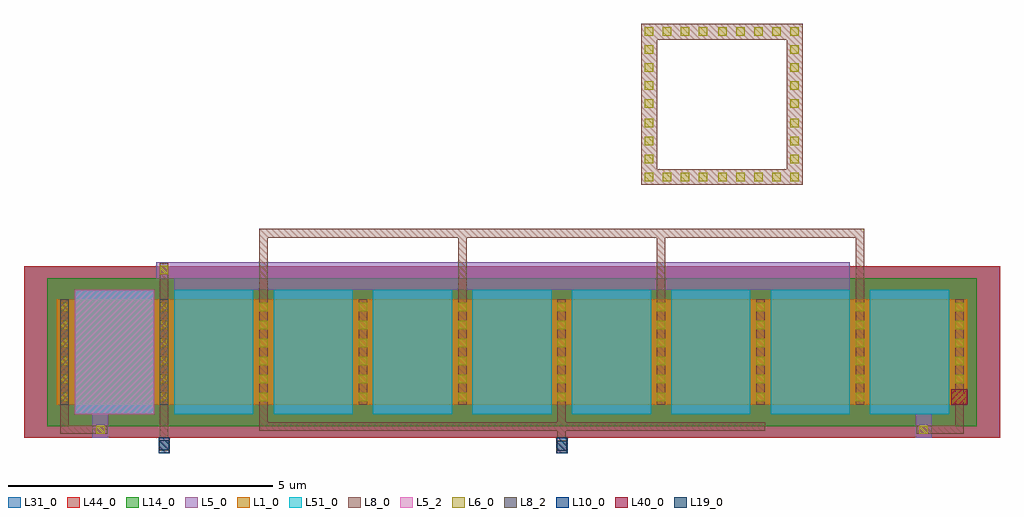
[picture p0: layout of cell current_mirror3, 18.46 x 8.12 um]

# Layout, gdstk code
from math import pi, radians
import gdstk
lib = gdstk.Library(unit=1e-6, precision=5e-09)
def R(c, l, rs):  # rectangles x0, y0, x1, y1
    for r in rs: c.add(gdstk.rectangle(r[:2], r[2:], *l))
def A(c, l, x, y, w, h, nx, ny, dx, dy):  # array of equal rectangles
    R(c, l, [(x+i*dx, y+j*dy, x+i*dx+w, y+j*dy+h) for i in range(nx) for j in range(ny)])
L1_0 = (1, 0)
L5_0 = (5, 0)
L5_2 = (5, 2)
L6_0 = (6, 0)
L8_0 = (8, 0)
L8_2 = (8, 2)
L10_0 = (10, 0)
L14_0 = (14, 0)
L19_0 = (19, 0)
L31_0 = (31, 0)
L40_0 = (40, 0)
L44_0 = (44, 0)
L51_0 = (51, 0)

pmoshv_4 = lib.new_cell('pmosHV$4')
A(pmoshv_4, L1_0, 0, 0, 0.3, 0.3, 10, 1, 1.88, 0)
R(pmoshv_4, L1_0, [(0,0,17.22,2)])
A(pmoshv_4, L5_0, 0.34, -0.18, 1.5, 2.36, 9, 1, 1.88, 0)
R(pmoshv_4, L5_2, [(0.34,-0.18,1.84,2.18)])
A(pmoshv_4, L6_0, 0.07, 0.07, 0.16, 0.16, 10, 6, 1.88, 0.34)
A(pmoshv_4, L8_0, 0.07, 0, 0.16, 2, 10, 1, 1.88, 0)
R(pmoshv_4, L8_2, [(0.07,0,0.23,2), (1.95,0,2.11,2)])
R(pmoshv_4, L14_0, [(-0.18,-0.4,17.4,2.4)])
R(pmoshv_4, L31_0, [(-0.62,-0.62,17.84,2.62)])
R(pmoshv_4, L40_0, [(16.92,0,17.22,0.3)])
R(pmoshv_4, L44_0, [(-0.62,-0.62,17.84,2.62)])
A(pmoshv_4, L51_0, 0.34, -0.18, 1.5, 2.36, 9, 1, 1.88, 0)
pmoshv_4.add(gdstk.Label('pmosHV', (1.09,1), layer=63, texttype=0))
pmoshv_4.add(gdstk.Label('pmos', (1.09,1), layer=51, texttype=0))
pmoshv_4.add(gdstk.Label('pmos', (2.97,1), layer=51, texttype=0))
pmoshv_4.add(gdstk.Label('pmos', (4.85,1), layer=51, texttype=0))
pmoshv_4.add(gdstk.Label('pmos', (6.73,1), layer=51, texttype=0))
pmoshv_4.add(gdstk.Label('pmos', (8.61,1), layer=51, texttype=0))
pmoshv_4.add(gdstk.Label('pmos', (10.49,1), layer=51, texttype=0))
pmoshv_4.add(gdstk.Label('pmos', (12.37,1), layer=51, texttype=0))
pmoshv_4.add(gdstk.Label('pmos', (14.25,1), layer=51, texttype=0))
pmoshv_4.add(gdstk.Label('pmos', (16.13,1), layer=51, texttype=0))

guard_ring_9 = lib.new_cell('guard_ring$9')
A(guard_ring_9, L6_0, -1.455, -1.455, 0.16, 0.16, 4, 2, 0.34, 2.75)
A(guard_ring_9, L6_0, -0.065, -1.455, 0.16, 0.16, 5, 2, 0.34, 2.75)
A(guard_ring_9, L6_0, -1.455, -1.115, 0.16, 0.16, 1, 3, 0, 0.34)
A(guard_ring_9, L6_0, 1.295, -1.115, 0.16, 0.16, 1, 3, 0, 0.34)
A(guard_ring_9, L6_0, -1.455, -0.065, 0.16, 0.16, 1, 4, 0, 0.34)
A(guard_ring_9, L6_0, 1.295, -0.065, 0.16, 0.16, 1, 4, 0, 0.34)
R(guard_ring_9, L8_0, [(-1.525,-1.525,1.525,-1.225), (-1.525,-1.225,-1.225,1.225), (1.225,-1.225,1.525,1.225), (-1.525,1.225,1.525,1.525)])

via_stack = lib.new_cell('via_stack')
R(via_stack, L8_0, [(-0.145,-0.105,0.145,0.105)])
R(via_stack, L10_0, [(-0.145,-0.1,0.145,0.1)])
R(via_stack, L19_0, [(-0.095,-0.095,0.095,0.095)])

via_stack_5 = lib.new_cell('via_stack$5')
R(via_stack_5, L5_0, [(-0.15,-0.15,0.15,0.15)])
R(via_stack_5, L6_0, [(-0.08,-0.08,0.08,0.08)])
R(via_stack_5, L8_0, [(-0.13,-0.08,0.13,0.08)])

current_mirror3 = lib.new_cell('current_mirror3')
R(current_mirror3, L5_0, [(0.275,0.595,0.575,1.215), (0.275,0.595,0.575,1.215), (15.845,0.595,16.145,1.215), (15.845,0.595,16.145,1.215), (1.82,3.395,14.6,3.915), (1.48,3.615,2.02,3.915)])
R(current_mirror3, L8_0, [(9.05,0.3,9.26,0.59), (1.525,0.305,1.735,0.595), (1.55,0.305,1.71,1.445), (9.07,0.305,9.23,1.445), (-0.33,0.665,0.555,0.825), (-0.33,0.665,0.555,0.825), (-0.33,0.665,-0.17,1.445), (-0.33,0.665,-0.17,1.445), (15.865,0.665,16.75,0.825), (15.865,0.665,16.75,0.825), (16.59,0.665,16.75,1.445), (16.59,0.665,16.75,1.445), (3.43,0.725,13,0.885), (3.43,0.725,3.59,1.445), (10.95,2.98,11.11,4.545), (1.55,2.985,1.71,3.895), (3.43,2.985,3.59,4.545), (7.19,2.985,7.35,4.545), (14.71,2.985,14.87,4.545), (3.43,4.375,14.87,4.545)])
current_mirror3.add(gdstk.Reference(pmoshv_4, (-0.4,1.215)))
current_mirror3.add(gdstk.Reference(guard_ring_9, (12.18,6.9)))
current_mirror3.add(gdstk.Reference(via_stack, (1.63,0.45), rotation=pi/2))
current_mirror3.add(gdstk.Reference(via_stack, (9.155,0.445), rotation=pi/2))
current_mirror3.add(gdstk.Reference(via_stack_5, (15.995,0.745)))
current_mirror3.add(gdstk.Reference(via_stack_5, (15.995,0.745)))
current_mirror3.add(gdstk.Reference(via_stack_5, (0.425,0.745), rotation=pi, x_reflection=True))
current_mirror3.add(gdstk.Reference(via_stack_5, (0.425,0.745), rotation=pi, x_reflection=True))
current_mirror3.add(gdstk.Reference(via_stack_5, (1.63,3.765), rotation=3*pi/2))

lib.write_gds('current_mirror3.gds')
